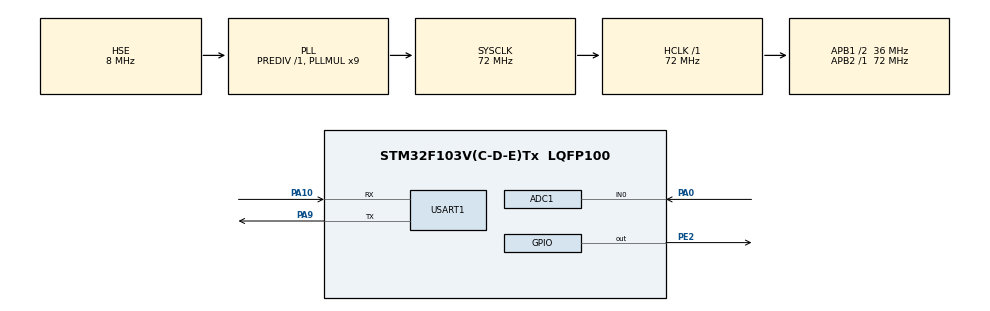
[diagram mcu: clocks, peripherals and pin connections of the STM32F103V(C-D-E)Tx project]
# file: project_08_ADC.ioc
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ADC1.Channel-0\#ChannelRegularConversion=ADC_CHANNEL_0
ADC1.NbrOfConversionFlag=1
ADC1.Rank-0\#ChannelRegularConversion=1
ADC1.SamplingTime-0\#ChannelRegularConversion=ADC_SAMPLETIME_1CYCLE_5
ADC1.master=1
Mcu.Family=STM32F1
Mcu.Name=STM32F103V(C-D-E)Tx
Mcu.Package=LQFP100
NVIC.ADC1_2_IRQn=true\:0\:0\:false\:false\:true\:true\:true
NVIC.PriorityGroup=NVIC_PRIORITYGROUP_4
OSC_IN.Mode=HSE-External-Oscillator
OSC_IN.Signal=RCC_OSC_IN
OSC_OUT.Mode=HSE-External-Oscillator
OSC_OUT.Signal=RCC_OSC_OUT
PA0-WKUP.Signal=ADCx_IN0
PA10.Mode=Asynchronous
PA10.Signal=USART1_RX
PA13.Mode=Serial_Wire
PA13.Signal=SYS_JTMS-SWDIO
PA14.Mode=Serial_Wire
PA14.Signal=SYS_JTCK-SWCLK
PA9.Mode=Asynchronous
PA9.Signal=USART1_TX
PC14-OSC32_IN.Mode=LSE-External-Oscillator
PC14-OSC32_IN.Signal=RCC_OSC32_IN
PC15-OSC32_OUT.Mode=LSE-External-Oscillator
PC15-OSC32_OUT.Signal=RCC_OSC32_OUT
PE2.Signal=GPIO_Output
ProjectManager.HeapSize=0x200
ProjectManager.StackSize=0x400
ProjectManager.TargetToolchain=MDK-ARM V5
RCC.ADCPresc=RCC_ADCPCLK2_DIV6
RCC.AHBFreq_Value=72000000
RCC.APB1CLKDivider=RCC_HCLK_DIV2
RCC.APB1Freq_Value=36000000
RCC.APB1TimFreq_Value=72000000
RCC.APB2Freq_Value=72000000
RCC.APB2TimFreq_Value=72000000
RCC.HCLKFreq_Value=72000000
RCC.PLLMUL=RCC_PLL_MUL9
RCC.PLLSourceVirtual=RCC_PLLSOURCE_HSE
RCC.SYSCLKFreq_VALUE=72000000
RCC.SYSCLKSource=RCC_SYSCLKSOURCE_PLLCLK
RCC.USBFreq_Value=72000000
SH.ADCx_IN0.0=ADC1_IN0,IN0
USART1.VirtualMode=VM_ASYNC
board=custom

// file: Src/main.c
/* USER CODE BEGIN Header */
/**
  ******************************************************************************
  * @file           : main.c
  * @brief          : Main program body
  ******************************************************************************
  * @attention
  *
  * <h2><center>&copy; Copyright (c) 2020 STMicroelectronics.
  * All rights reserved.</center></h2>
  *
  * This software component is licensed by ST under BSD 3-Clause license,
  * the "License"; You may not use this file except in compliance with the
  * License. You may obtain a copy of the License at:
  *                        opensource.org/licenses/BSD-3-Clause
  *
  ******************************************************************************
  */
/* USER CODE END Header */

#include "main.h"

ADC_HandleTypeDef hadc1;

UART_HandleTypeDef huart1;

/* USER CODE BEGIN PV */
uint16_t ADC_Value = 0;
float voltage = 0.0;
char voltSting[50] = {0};

/* USER CODE END PV */

void SystemClock_Config(void);

static void MX_GPIO_Init(void);

static void MX_ADC1_Init(void);

static void MX_USART1_UART_Init(void);

/* USER CODE BEGIN 0 */
#include "stdio.h"

#define LED1_ON() HAL_GPIO_WritePin(GPIOE,GPIO_PIN_2,GPIO_PIN_RESET)
#define LED1_OFF() HAL_GPIO_WritePin(GPIOE,GPIO_PIN_2,GPIO_PIN_SET)

uint16_t ADC0_Value = 0, ADC0_Volt = 0;
uint8_t str_buff[64];

void USART1_Send_Info() {
    sprintf((char *) str_buff, "采样值：%d，电压值：%d.%d%dV\r\n", ADC0_Value, ADC0_Volt / 100, (ADC0_Volt % 100) / 10,
            ADC0_Volt % 10);
    HAL_UART_Transmit(&huart1, str_buff, sizeof(str_buff), 10000);
}

//查询模式 阻塞模式
void Get_ADC_Value() {
    HAL_ADC_Start(&hadc1);
    LED1_ON();
    if (HAL_OK == HAL_ADC_PollForConversion(&hadc1, 10)) {
        ADC0_Value = HAL_ADC_GetValue(&hadc1);
        ADC0_Volt = ADC0_Value * 330 / 4096;
    }
    USART1_Send_Info();
    LED1_OFF();
    HAL_ADC_Stop(&hadc1);
}

//中断模式 非阻塞模式
void HAL_ADC_ConvCpltCallback(ADC_HandleTypeDef *hadc) {
    if (hadc->Instance == ADC1) {
        ADC0_Value = HAL_ADC_GetValue(&hadc1);    //读取ADC转换结果
        ADC0_Volt = ADC0_Value * 330 / 4096;      //将采样值换算成电压值
        USART1_Send_Info();                        //向上位机发生ADC采样信息
        LED1_OFF();                               //关闭LED1采样指示灯
    }
}
/* USER CODE END 0 */

int main(void) {

    /* MCU Configuration--------------------------------------------------------*/

    /* Reset of all peripherals, Initializes the Flash interface and the Systick. */
    HAL_Init();

    /* Configure the system clock */
    SystemClock_Config();

    /* Initialize all configured peripherals */
    MX_GPIO_Init();
    MX_ADC1_Init();
    MX_USART1_UART_Init();

    /* Infinite loop */
    /* USER CODE BEGIN WHILE */
    while (1) {
        //查询 阻塞模式
        /*Get_ADC_Value();
        USART1_Send_Info();
        HAL_Delay(1000);*/

        //中断 阻塞模式
        HAL_ADC_Start_IT(&hadc1);
        LED1_ON();
        HAL_Delay(1000);

        /* USER CODE END WHILE */

    }
}

void SystemClock_Config(void) {
    RCC_OscInitTypeDef RCC_OscInitStruct = {0};
    RCC_ClkInitTypeDef RCC_ClkInitStruct = {0};
    RCC_PeriphCLKInitTypeDef PeriphClkInit = {0};

    /** Initializes the CPU, AHB and APB busses clocks
    */
    RCC_OscInitStruct.OscillatorType = RCC_OSCILLATORTYPE_HSE;
    RCC_OscInitStruct.HSEState = RCC_HSE_ON;
    RCC_OscInitStruct.HSEPredivValue = RCC_HSE_PREDIV_DIV1;
    RCC_OscInitStruct.HSIState = RCC_HSI_ON;
    RCC_OscInitStruct.PLL.PLLState = RCC_PLL_ON;
    RCC_OscInitStruct.PLL.PLLSource = RCC_PLLSOURCE_HSE;
    RCC_OscInitStruct.PLL.PLLMUL = RCC_PLL_MUL9;
    if (HAL_RCC_OscConfig(&RCC_OscInitStruct) != HAL_OK) {
        Error_Handler();
    }
    /** Initializes the CPU, AHB and APB busses clocks
    */
    RCC_ClkInitStruct.ClockType = RCC_CLOCKTYPE_HCLK | RCC_CLOCKTYPE_SYSCLK
                                  | RCC_CLOCKTYPE_PCLK1 | RCC_CLOCKTYPE_PCLK2;
    RCC_ClkInitStruct.SYSCLKSource = RCC_SYSCLKSOURCE_PLLCLK;
    RCC_ClkInitStruct.AHBCLKDivider = RCC_SYSCLK_DIV1;
    RCC_ClkInitStruct.APB1CLKDivider = RCC_HCLK_DIV2;
    RCC_ClkInitStruct.APB2CLKDivider = RCC_HCLK_DIV1;

    if (HAL_RCC_ClockConfig(&RCC_ClkInitStruct, FLASH_LATENCY_2) != HAL_OK) {
        Error_Handler();
    }
    PeriphClkInit.PeriphClockSelection = RCC_PERIPHCLK_ADC;
    PeriphClkInit.AdcClockSelection = RCC_ADCPCLK2_DIV6;
    if (HAL_RCCEx_PeriphCLKConfig(&PeriphClkInit) != HAL_OK) {
        Error_Handler();
    }
}

static void MX_ADC1_Init(void) {

    ADC_ChannelConfTypeDef sConfig = {0};

    /** Common config
    */
    hadc1.Instance = ADC1;
    hadc1.Init.ScanConvMode = ADC_SCAN_DISABLE;
    hadc1.Init.ContinuousConvMode = DISABLE;
    hadc1.Init.DiscontinuousConvMode = DISABLE;
    hadc1.Init.ExternalTrigConv = ADC_SOFTWARE_START;
    hadc1.Init.DataAlign = ADC_DATAALIGN_RIGHT;
    hadc1.Init.NbrOfConversion = 1;
    if (HAL_ADC_Init(&hadc1) != HAL_OK) {
        Error_Handler();
    }
    /** Configure Regular Channel
    */
    sConfig.Channel = ADC_CHANNEL_0;
    sConfig.Rank = ADC_REGULAR_RANK_1;
    sConfig.SamplingTime = ADC_SAMPLETIME_1CYCLE_5;
    if (HAL_ADC_ConfigChannel(&hadc1, &sConfig) != HAL_OK) {
        Error_Handler();
    }

}

static void MX_USART1_UART_Init(void) {

    huart1.Instance = USART1;
    huart1.Init.BaudRate = 115200;
    huart1.Init.WordLength = UART_WORDLENGTH_8B;
    huart1.Init.StopBits = UART_STOPBITS_1;
    huart1.Init.Parity = UART_PARITY_NONE;
    huart1.Init.Mode = UART_MODE_TX_RX;
    huart1.Init.HwFlowCtl = UART_HWCONTROL_NONE;
    huart1.Init.OverSampling = UART_OVERSAMPLING_16;
    if (HAL_UART_Init(&huart1) != HAL_OK) {
        Error_Handler();
    }

}

static void MX_GPIO_Init(void) {
    GPIO_InitTypeDef GPIO_InitStruct = {0};

    /* GPIO Ports Clock Enable */
    __HAL_RCC_GPIOE_CLK_ENABLE();
    __HAL_RCC_GPIOC_CLK_ENABLE();
    __HAL_RCC_GPIOA_CLK_ENABLE();

    /*Configure GPIO pin Output Level */
    HAL_GPIO_WritePin(GPIOE, GPIO_PIN_2, GPIO_PIN_RESET);

    /*Configure GPIO pin : PE2 */
    GPIO_InitStruct.Pin = GPIO_PIN_2;
    GPIO_InitStruct.Mode = GPIO_MODE_OUTPUT_PP;
    GPIO_InitStruct.Pull = GPIO_NOPULL;
    GPIO_InitStruct.Speed = GPIO_SPEED_FREQ_LOW;
    HAL_GPIO_Init(GPIOE, &GPIO_InitStruct);

}

void Error_Handler(void) {
}

/************************ (C) COPYRIGHT STMicroelectronics *****END OF FILE****/
